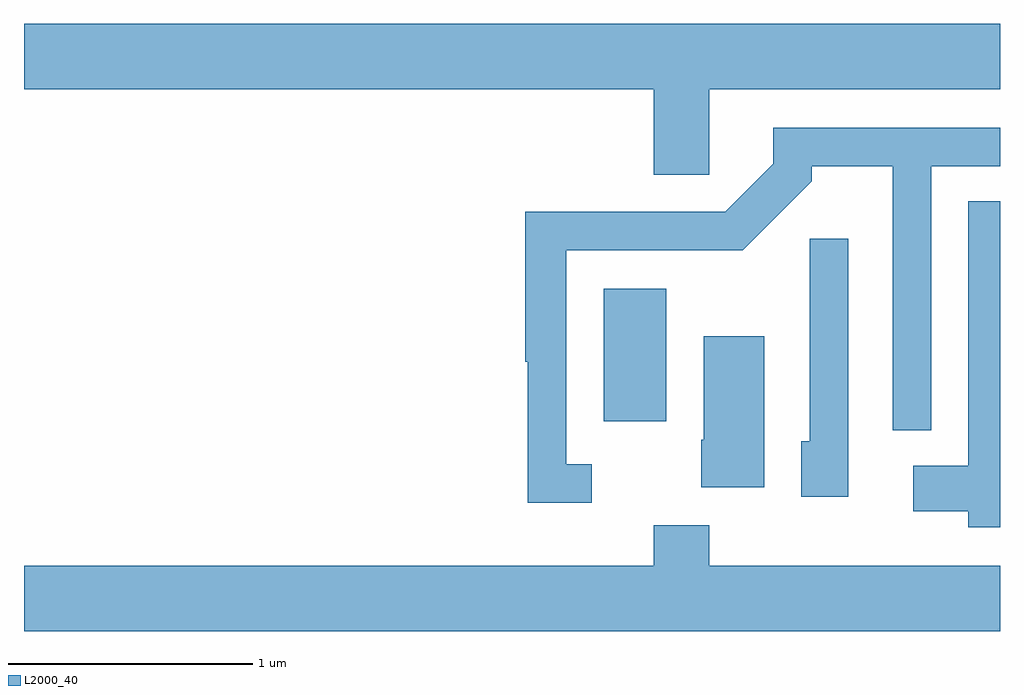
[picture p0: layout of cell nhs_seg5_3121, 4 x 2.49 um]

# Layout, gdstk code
import gdstk
lib = gdstk.Library(unit=1e-6, precision=1e-09)
def R(c, l, rs):  # rectangles x0, y0, x1, y1
    for r in rs: c.add(gdstk.rectangle(r[:2], r[2:], *l))
def P(c, l, *ps):  # polygons
    for p in ps: c.add(gdstk.Polygon(p, *l))
L2000_40 = (2000, 40)

nhs_seg5_3121 = lib.new_cell('nhs_seg5_3121')
R(nhs_seg5_3121, L2000_40, [(279.986,1473.196,280.244,1473.739)])
P(nhs_seg5_3121, L2000_40, [(280.419,1474.556),(281.611,1474.556),(281.611,1474.824),(277.611,1474.824),(277.611,1474.556),(280.191,1474.556),(280.191,1474.206),(280.419,1474.206)],
  [(279.938,1473.019),(279.834,1473.019),(279.834,1473.896),(280.557,1473.896),(280.839,1474.179),(280.839,1474.241),(281.171,1474.241),(281.171,1473.158),(281.329,1473.158),(281.329,1474.241),(281.611,1474.241),(281.611,1474.399),(280.681,1474.399),(280.681,1474.252),(280.484,1474.054),(279.666,1474.054),(279.666,1473.44),(279.676,1473.44),(279.676,1472.861),(279.938,1472.861)],
  [(281.611,1474.098),(281.481,1474.098),(281.481,1473.014),(281.256,1473.014),(281.256,1472.826),(281.481,1472.826),(281.481,1472.761),(281.611,1472.761)],
  [(280.989,1473.943),(280.831,1473.943),(280.831,1473.114),(280.796,1473.114),(280.796,1472.886),(280.989,1472.886)],
  [(280.644,1473.544),(280.396,1473.544),(280.396,1473.12),(280.386,1473.12),(280.386,1472.926),(280.644,1472.926)],
  [(281.611,1472.604),(280.419,1472.604),(280.419,1472.769),(280.191,1472.769),(280.191,1472.604),(277.611,1472.604),(277.611,1472.336),(281.611,1472.336)])

lib.write_gds('nhs_seg5_3121.gds')
